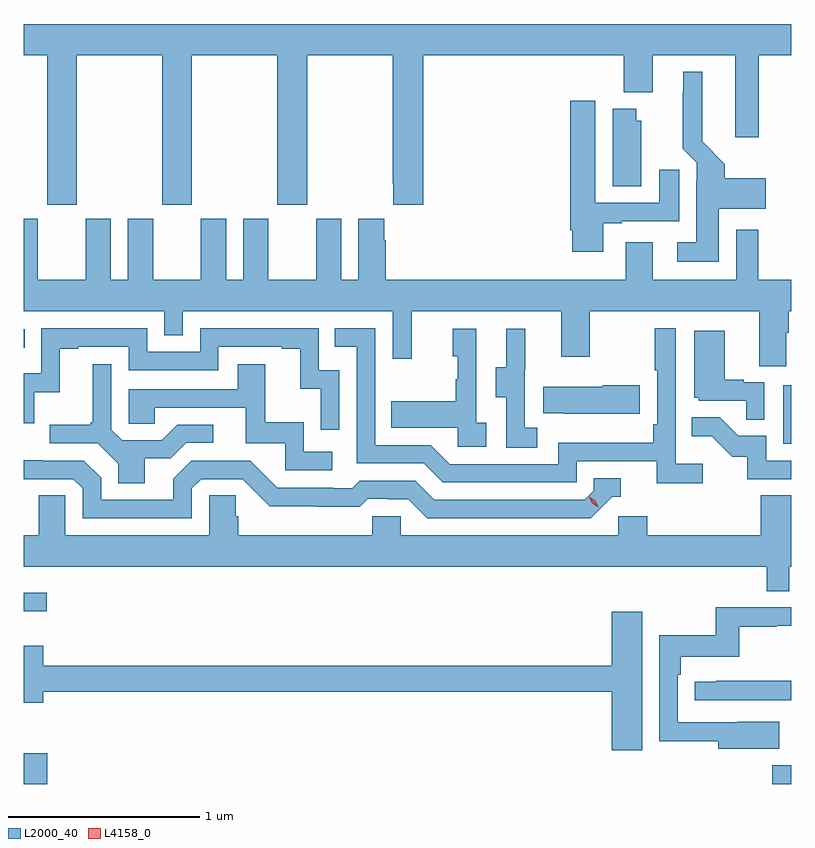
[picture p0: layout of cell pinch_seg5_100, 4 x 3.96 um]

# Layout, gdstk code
import gdstk
lib = gdstk.Library(unit=1e-6, precision=1e-09)
def R(c, l, rs):  # rectangles x0, y0, x1, y1
    for r in rs: c.add(gdstk.rectangle(r[:2], r[2:], *l))
def P(c, l, *ps):  # polygons
    for p in ps: c.add(gdstk.Polygon(p, *l))
L2000_40 = (2000, 40)
L4158_0 = (4158, 0)

pinch_seg5_100 = lib.new_cell('pinch_seg5_100')
R(pinch_seg5_100, L2000_40, [(1030.979,891.592,1031.102,891.751), (1034.879,891.592,1034.979,891.691), (1030.979,892.491,1031.098,892.588), (1034.936,893.364,1034.979,893.671), (1030.979,893.864,1030.985,893.961)])
P(pinch_seg5_100, L2000_40, [(1031.256,895.388),(1031.701,895.388),(1031.701,894.609),(1031.856,894.609),(1031.856,895.388),(1032.301,895.388),(1032.301,894.609),(1032.456,894.609),(1032.456,895.388),(1032.901,895.388),(1032.901,894.721),(1032.905,894.721),(1032.905,894.609),(1033.061,894.609),(1033.061,895.388),(1034.105,895.388),(1034.105,895.196),(1034.257,895.196),(1034.257,895.388),(1034.687,895.388),(1034.687,894.963),(1034.81,894.963),(1034.81,895.388),(1034.979,895.388),(1034.979,895.552),(1030.979,895.552),(1030.979,895.388),(1031.101,895.388),(1031.101,894.609),(1031.256,894.609)],
  [(1034.602,894.59),(1034.845,894.59),(1034.845,894.748),(1034.632,894.748),(1034.632,894.822),(1034.515,894.94),(1034.515,895.303),(1034.417,895.303),(1034.417,895.193),(1034.413,895.193),(1034.413,894.902),(1034.487,894.828),(1034.487,894.734),(1034.483,894.734),(1034.483,894.415),(1034.385,894.415),(1034.385,894.314),(1034.602,894.314)],
  [(1033.999,894.513),(1034.095,894.513),(1034.095,894.525),(1034.395,894.525),(1034.395,894.793),(1034.291,894.793),(1034.291,894.621),(1033.957,894.621),(1033.957,895.153),(1033.826,895.153),(1033.826,894.478),(1033.838,894.478),(1033.838,894.366),(1033.999,894.366)],
  [(1034.197,895.047),(1034.17,895.047),(1034.17,895.111),(1034.048,895.111),(1034.048,894.706),(1034.197,894.706)],
  [(1034.953,893.944),(1034.966,893.944),(1034.966,894.056),(1034.979,894.056),(1034.979,894.22),(1034.807,894.22),(1034.807,894.481),(1034.691,894.481),(1034.691,894.22),(1034.257,894.22),(1034.257,894.415),(1034.117,894.415),(1034.117,894.22),(1032.866,894.22),(1032.866,894.425),(1032.859,894.425),(1032.859,894.538),(1032.722,894.538),(1032.722,894.22),(1032.634,894.22),(1032.634,894.538),(1032.503,894.538),(1032.503,894.22),(1032.253,894.22),(1032.253,894.538),(1032.122,894.538),(1032.122,894.22),(1032.034,894.22),(1032.034,894.538),(1031.903,894.538),(1031.903,894.22),(1031.653,894.22),(1031.653,894.538),(1031.522,894.538),(1031.522,894.22),(1031.434,894.22),(1031.434,894.538),(1031.303,894.538),(1031.303,894.22),(1031.053,894.22),(1031.053,894.538),(1030.979,894.538),(1030.979,894.056),(1031.712,894.056),(1031.712,893.929),(1031.808,893.929),(1031.808,894.056),(1032.903,894.056),(1032.903,893.808),(1033.001,893.808),(1033.001,894.056),(1033.781,894.056),(1033.781,893.817),(1033.929,893.817),(1033.929,894.056),(1034.813,894.056),(1034.813,893.77),(1034.953,893.77)],
  [(1034.518,893.26),(1034.376,893.26),(1034.376,893.968),(1034.268,893.968),(1034.268,893.749),(1034.28,893.749),(1034.28,893.467),(1034.26,893.467),(1034.26,893.371),(1033.764,893.371),(1033.764,893.259),(1033.2,893.259),(1033.101,893.358),(1032.81,893.358),(1032.81,893.967),(1032.601,893.967),(1032.601,893.871),(1032.714,893.871),(1032.714,893.262),(1033.064,893.262),(1033.163,893.163),(1033.86,893.163),(1033.86,893.274),(1034.279,893.274),(1034.279,893.158),(1034.518,893.158)],
  [(1032.624,893.748),(1032.516,893.748),(1032.516,893.967),(1031.898,893.967),(1031.898,893.844),(1031.622,893.844),(1031.622,893.967),(1031.07,893.967),(1031.07,893.731),(1030.979,893.731),(1030.979,893.472),(1031.034,893.472),(1031.034,893.633),(1031.167,893.633),(1031.167,893.859),(1031.263,893.859),(1031.263,893.871),(1031.526,893.871),(1031.526,893.748),(1031.994,893.748),(1031.994,893.871),(1032.323,893.871),(1032.323,893.859),(1032.419,893.859),(1032.419,893.651),(1032.528,893.651),(1032.528,893.439),(1032.624,893.439)],
  [(1033.654,893.447),(1033.59,893.447),(1033.59,893.751),(1033.592,893.751),(1033.592,893.965),(1033.493,893.965),(1033.493,893.763),(1033.439,893.763),(1033.439,893.608),(1033.494,893.608),(1033.494,893.344),(1033.654,893.344)],
  [(1033.39,893.474),(1033.338,893.474),(1033.338,893.965),(1033.214,893.965),(1033.214,893.82),(1033.24,893.82),(1033.24,893.702),(1033.23,893.702),(1033.23,893.587),(1032.895,893.587),(1032.895,893.447),(1033.242,893.447),(1033.242,893.349),(1033.39,893.349)],
  [(1034.838,893.685),(1034.732,893.685),(1034.732,893.698),(1034.632,893.698),(1034.632,893.953),(1034.474,893.953),(1034.474,893.604),(1034.496,893.604),(1034.496,893.589),(1034.743,893.589),(1034.743,893.491),(1034.838,893.491)],
  [(1031.611,893.29),(1031.746,893.29),(1031.826,893.37),(1031.968,893.37),(1031.968,893.463),(1031.78,893.463),(1031.699,893.382),(1031.493,893.382),(1031.436,893.439),(1031.436,893.779),(1031.339,893.779),(1031.339,893.476),(1031.328,893.476),(1031.328,893.464),(1031.115,893.464),(1031.115,893.367),(1031.364,893.367),(1031.471,893.26),(1031.471,893.158),(1031.611,893.158)],
  [(1032.586,893.322),(1032.438,893.322),(1032.438,893.476),(1032.239,893.476),(1032.239,893.779),(1032.095,893.779),(1032.095,893.649),(1031.526,893.649),(1031.526,893.469),(1031.663,893.469),(1031.663,893.553),(1032.137,893.553),(1032.137,893.367),(1032.342,893.367),(1032.342,893.226),(1032.586,893.226)],
  [(1034.188,893.67),(1033.997,893.67),(1033.997,893.662),(1033.687,893.662),(1033.687,893.525),(1033.795,893.525),(1033.795,893.522),(1034.188,893.522)],
  [(1034.979,893.277),(1034.847,893.277),(1034.847,893.406),(1034.703,893.406),(1034.605,893.504),(1034.461,893.504),(1034.461,893.405),(1034.565,893.405),(1034.672,893.298),(1034.749,893.298),(1034.749,893.181),(1034.979,893.181)],
  [(1031.856,893.133),(1031.904,893.181),(1032.12,893.181),(1032.262,893.039),(1032.498,893.039),(1032.498,893.037),(1032.731,893.037),(1032.773,893.079),(1032.876,893.079),(1032.876,893.076),(1032.983,893.076),(1033.082,892.977),(1033.935,892.977),(1034.046,893.088),(1034.089,893.088),(1034.089,893.184),(1033.95,893.184),(1033.95,893.121),(1033.902,893.073),(1033.119,893.073),(1033.02,893.172),(1032.731,893.172),(1032.692,893.133),(1032.593,893.133),(1032.593,893.136),(1032.3,893.136),(1032.159,893.277),(1031.853,893.277),(1031.759,893.183),(1031.759,893.073),(1031.382,893.073),(1031.382,893.187),(1031.292,893.277),(1031.076,893.277),(1031.076,893.279),(1030.979,893.279),(1030.979,893.181),(1031.238,893.181),(1031.286,893.133),(1031.286,892.977),(1031.856,892.977)],
  [(1034.076,892.986),(1034.076,892.888),(1032.945,892.888),(1032.945,892.986),(1032.795,892.986),(1032.795,892.888),(1032.098,892.888),(1032.098,892.986),(1032.083,892.986),(1032.083,893.096),(1031.946,893.096),(1031.946,892.888),(1031.196,892.888),(1031.196,893.096),(1031.057,893.096),(1031.057,892.888),(1030.979,892.888),(1030.979,892.724),(1034.851,892.724),(1034.851,892.597),(1034.967,892.597),(1034.967,892.724),(1034.979,892.724),(1034.979,893.096),(1034.819,893.096),(1034.819,892.888),(1034.228,892.888),(1034.228,892.986)],
  [(1034.915,891.916),(1034.701,891.916),(1034.701,891.915),(1034.388,891.915),(1034.388,892.16),(1034.402,892.16),(1034.402,892.256),(1034.707,892.256),(1034.707,892.411),(1034.903,892.411),(1034.903,892.416),(1034.979,892.416),(1034.979,892.512),(1034.586,892.512),(1034.586,892.366),(1034.292,892.366),(1034.292,891.814),(1034.597,891.814),(1034.597,891.776),(1034.915,891.776)],
  [(1034.203,892.489),(1034.042,892.489),(1034.042,892.208),(1031.08,892.208),(1031.08,892.312),(1030.979,892.312),(1030.979,892.016),(1031.08,892.016),(1031.08,892.072),(1034.042,892.072),(1034.042,891.768),(1034.203,891.768)],
  [(1034.979,892.13),(1034.587,892.13),(1034.587,892.125),(1034.475,892.125),(1034.475,892.029),(1034.979,892.029)])
P(pinch_seg5_100, L4158_0, [(1033.973,893.035),(1033.942,893.055),(1033.927,893.088),(1033.927,893.088),(1033.927,893.088),(1033.957,893.068),(1033.973,893.035),(1033.973,893.035)])

lib.write_gds('pinch_seg5_100.gds')
